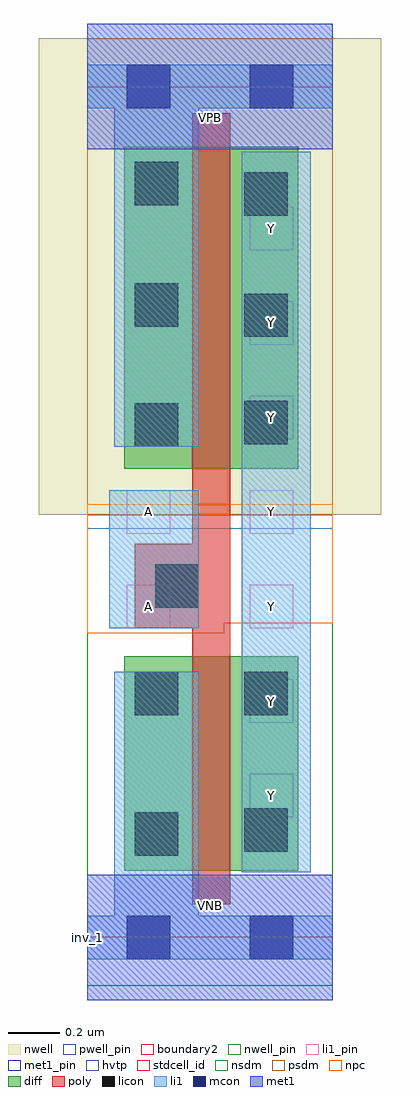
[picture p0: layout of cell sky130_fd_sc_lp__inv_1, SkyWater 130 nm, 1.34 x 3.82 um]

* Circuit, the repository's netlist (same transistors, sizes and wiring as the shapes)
* Copyright 2020 The SkyWater PDK Authors
*
* Licensed under the Apache License, Version 2.0 (the "License");
* you may not use this file except in compliance with the License.
* You may obtain a copy of the License at
*
*     https://www.apache.org/licenses/LICENSE-2.0
*
* Unless required by applicable law or agreed to in writing, software
* distributed under the License is distributed on an "AS IS" BASIS,
* WITHOUT WARRANTIES OR CONDITIONS OF ANY KIND, either express or implied.
* See the License for the specific language governing permissions and
* limitations under the License.
*
* SPDX-License-Identifier: Apache-2.0

.SUBCKT sky130_fd_sc_lp__inv_1 A VGND VNB VPB VPWR Y
*.PININFO A:I VGND:I VNB:I VPB:I VPWR:I Y:O
MMIP1 Y A VPWR VPB sky130_fd_pr__pfet_01v8_hvt m=1 w=1.26U l=0.15U mult=1 sa=0.265
+ sb=0.265 sd=0.28 area=0.063 perim=1.14
MMIN1 Y A VGND VNB sky130_fd_pr__nfet_01v8 m=1 w=0.84U l=0.15U mult=1 sa=0.265
+ sb=0.265 sd=0.28 area=0.063 perim=1.14
.ENDS sky130_fd_sc_lp__inv_1

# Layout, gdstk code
import gdstk
lib = gdstk.Library(unit=1e-6, precision=1e-09)
def R(c, l, rs):  # rectangles x0, y0, x1, y1
    for r in rs: c.add(gdstk.rectangle(r[:2], r[2:], *l))
def A(c, l, x, y, w, h, nx, ny, dx, dy):  # array of equal rectangles
    R(c, l, [(x+i*dx, y+j*dy, x+i*dx+w, y+j*dy+h) for i in range(nx) for j in range(ny)])
def P(c, l, *ps):  # polygons
    for p in ps: c.add(gdstk.Polygon(p, *l))
nwell_pin = (64, 16)
nwell = (64, 20)
diff = (65, 20)
poly = (66, 20)
licon = (66, 44)
li1_pin = (67, 16)
li1 = (67, 20)
mcon = (67, 44)
met1_pin = (68, 16)
met1 = (68, 20)
hvtp = (78, 44)
stdcell_id = (81, 4)
nsdm = (93, 44)
psdm = (94, 20)
npc = (95, 20)
pwell_pin = (122, 16)
boundary2 = (236, 0)

sky130_fd_sc_lp__inv_1 = lib.new_cell('sky130_fd_sc_lp__inv_1')
R(sky130_fd_sc_lp__inv_1, nwell_pin, [(0,3.085,0.96,3.33)])
R(sky130_fd_sc_lp__inv_1, nwell, [(-0.19,1.655,1.15,3.52)])
R(sky130_fd_sc_lp__inv_1, diff, [(0.145,0.26,0.825,1.1), (0.145,1.835,0.825,3.095)])
P(sky130_fd_sc_lp__inv_1, poly, [(0.56,3.225),(0.41,3.225),(0.41,1.54),(0.185,1.54),(0.185,1.21),(0.41,1.21),(0.41,0.13),(0.56,0.13)])
R(sky130_fd_sc_lp__inv_1, licon, [(0.185,0.32,0.355,0.49), (0.615,0.335,0.785,0.505), (0.185,0.87,0.355,1.04), (0.615,0.87,0.785,1.04), (0.265,1.29,0.435,1.46), (0.185,1.92,0.355,2.09), (0.615,1.93,0.785,2.1), (0.615,2.35,0.785,2.52), (0.185,2.39,0.355,2.56), (0.615,2.825,0.785,2.995), (0.185,2.865,0.355,3.035)])
A(sky130_fd_sc_lp__inv_1, li1_pin, 0.635, 0.47, 0.17, 0.17, 1, 7, 0, 0.37)
R(sky130_fd_sc_lp__inv_1, li1_pin, [(0.155,1.21,0.325,1.38), (0.155,1.58,0.325,1.75)])
R(sky130_fd_sc_lp__inv_1, li1, [(0.605,0.255,0.875,3.075), (0.085,1.21,0.435,1.75)])
P(sky130_fd_sc_lp__inv_1, li1, [(0.105,1.92),(0.105,3.245),(0,3.245),(0,3.415),(0.96,3.415),(0.96,3.245),(0.435,3.245),(0.435,1.92)],
  [(0.105,0.085),(0.105,1.04),(0.435,1.04),(0.435,0.085),(0.96,0.085),(0.96,-0.085),(0,-0.085),(0,0.085)])
R(sky130_fd_sc_lp__inv_1, mcon, [(0.155,-0.085,0.325,0.085), (0.635,-0.085,0.805,0.085), (0.155,3.245,0.325,3.415), (0.635,3.245,0.805,3.415)])
R(sky130_fd_sc_lp__inv_1, met1_pin, [(0,0,0.96,0.245), (0,3.085,0.96,3.33)])
R(sky130_fd_sc_lp__inv_1, met1, [(0,-0.245,0.96,0.245), (0,3.085,0.96,3.575)])
R(sky130_fd_sc_lp__inv_1, hvtp, [(0,1.6,0.96,3.33)])
R(sky130_fd_sc_lp__inv_1, stdcell_id, [(0,0,0.96,3.33)])
R(sky130_fd_sc_lp__inv_1, nsdm, [(0,-0.19,0.96,1.655)])
R(sky130_fd_sc_lp__inv_1, psdm, [(0,1.655,0.96,3.52)])
P(sky130_fd_sc_lp__inv_1, npc, [(0.96,1.695),(0,1.695),(0,1.19),(0.535,1.19),(0.535,1.23),(0.96,1.23)])
R(sky130_fd_sc_lp__inv_1, pwell_pin, [(0,0,0.96,0.245)])
R(sky130_fd_sc_lp__inv_1, boundary2, [(0,0,0.96,3.33)])
sky130_fd_sc_lp__inv_1.add(gdstk.Label('VNB', (0.48,0.123), layer=64, texttype=59))
sky130_fd_sc_lp__inv_1.add(gdstk.Label('VPB', (0.48,3.208), layer=64, texttype=5))
sky130_fd_sc_lp__inv_1.add(gdstk.Label('inv_1', (0,0), layer=83, texttype=44))
sky130_fd_sc_lp__inv_1.add(gdstk.Label('VGND', (0.48,0.123), layer=68, texttype=5))
sky130_fd_sc_lp__inv_1.add(gdstk.Label('VPWR', (0.48,3.208), layer=68, texttype=5))
sky130_fd_sc_lp__inv_1.add(gdstk.Label('A', (0.24,1.295), layer=67, texttype=5))
sky130_fd_sc_lp__inv_1.add(gdstk.Label('A', (0.24,1.665), layer=67, texttype=5))
sky130_fd_sc_lp__inv_1.add(gdstk.Label('Y', (0.72,0.555), layer=67, texttype=5))
sky130_fd_sc_lp__inv_1.add(gdstk.Label('Y', (0.72,0.925), layer=67, texttype=5))
sky130_fd_sc_lp__inv_1.add(gdstk.Label('Y', (0.72,1.295), layer=67, texttype=5))
sky130_fd_sc_lp__inv_1.add(gdstk.Label('Y', (0.72,1.665), layer=67, texttype=5))
sky130_fd_sc_lp__inv_1.add(gdstk.Label('Y', (0.72,2.035), layer=67, texttype=5))
sky130_fd_sc_lp__inv_1.add(gdstk.Label('Y', (0.72,2.405), layer=67, texttype=5))
sky130_fd_sc_lp__inv_1.add(gdstk.Label('Y', (0.72,2.775), layer=67, texttype=5))

lib.write_gds('sky130_fd_sc_lp__inv_1.gds')
